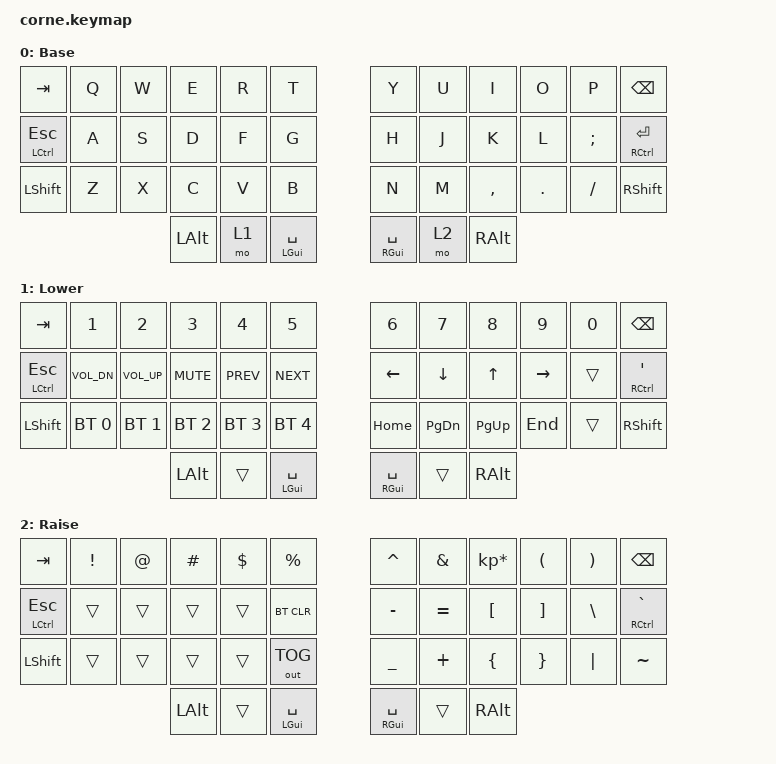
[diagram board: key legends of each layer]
/*
 * Copyright (c) 2020 The ZMK Contributors
 *
 * SPDX-License-Identifier: MIT
 */

#include <behaviors.dtsi>
#include <dt-bindings/zmk/keys.h>
#include <dt-bindings/zmk/bt.h>
#include <dt-bindings/zmk/outputs.h>

/ {
        keymap {
                compatible = "zmk,keymap";

                default_layer {
// ---------------------------------------------------             ---------------------------------------------------
// | TAB        |  Q  |  W  |  E   |  R  |  T        |             |  Y        |  U   |  I  |  O  |  P  | BKSP       |
// | CTRL & ESC |  A  |  S  |  D   |  F  |  G        |             |  H        |  J   |  K  |  L  |  ;  | CTRL & ENT |
// | SHFT       |  Z  |  X  |  C   |  V  |  B        |             |  N        |  M   |  ,  |  .  |  /  | SHFT       |
//                          | ALT  | LWR | GUI & SPC |             | GUI & SPC | RSE  | ALT |

                        display-name = "Base";
                        bindings = <
   &kp TAB       &kp Q &kp W &kp E &kp R &kp T                &kp Y &kp U  &kp I     &kp O   &kp P    &kp BSPC
   &mt LCTRL ESC &kp A &kp S &kp D &kp F &kp G                &kp H &kp J  &kp K     &kp L   &kp SEMI &mt RCTRL RET
   &kp LSHFT     &kp Z &kp X &kp C &kp V &kp B                &kp N &kp M  &kp COMMA &kp DOT &kp FSLH &kp RSHFT
                       &kp LALT &mo 1 &mt LGUI SPC            &mt RGUI SPC &mo 2 &kp RALT
                        >;
                };
                lower_layer {
// ------------------------------------------------------------------           -----------------------------------------------------
// |  TAB       |  1       |  2       |  3     |  4     |  5        |           |  6         |  7    |  8    |  9  |  0  | BKSP     |
// | CTRL & ESC | C_VOL_DN | C_VOL_UP | C_MUTE | C_PREV | C_NEXT    |           | LFT        | DWN   |  UP   | RGT |     | CTRL & ' |
// | SHFT       | BT1      | BT2      | BT3    | BT4    | BT5       |           | HOME       | PG_DN | PG_UP | END |     | SHFT     |
//                                    | ALT    |        | GUI & SPC |           | GUI & SPC  |       | ALT   |

                        display-name = "Lower";
                        bindings = <
   &kp TAB       &kp N1       &kp N2       &kp N3       &kp N4       &kp N5               &kp N6   &kp N7    &kp N8    &kp N9    &kp N0 &kp BSPC
   &mt LCTRL ESC &kp C_VOL_DN &kp C_VOL_UP &kp C_MUTE   &kp C_PREV   &kp C_NEXT           &kp LEFT &kp DOWN  &kp UP    &kp RIGHT &trans &mt RCTRL SQT
   &kp LSHFT     &bt BT_SEL 0 &bt BT_SEL 1 &bt BT_SEL 2 &bt BT_SEL 3 &bt BT_SEL 4         &kp HOME &kp PG_DN &kp PG_UP &kp END   &trans &kp RSHFT
                          	               &kp LALT &trans &mt LGUI SPC                   &mt RGUI SPC &trans &kp RALT
                        >;
                };
                raise_layer {
// -------------------------------------------------------------------       ------------------------------------------------
// |  TAB       |  !        |  @       |  #     |  $     |  %        |       |  ^        |  &  |  *  |  (  |  )  | BKSP     |
// | CTRL & ESC |           |          |        |        | BTCLR     |       |  -        |  =  |  [  |  ]  |  \  | CTRL & ` |
// | SHFT       |           |          |        |        | OUT_TOG   |       |  _        |  +  |  {  |  }  | "|" |  ~       |
//                                     | ALT    |        | GUI & SPC |       | GUI & SPC |     | ALT |

                        display-name = "Raise";
                        bindings = <
   &kp TAB       &kp EXCL     &kp AT       &kp HASH   &kp DLLR   &kp PRCNT      &kp CARET &kp AMPS  &kp KP_MULTIPLY &kp LPAR &kp RPAR &kp BSPC
   &mt LCTRL ESC &trans       &trans       &trans     &trans     &bt BT_CLR     &kp MINUS &kp EQUAL &kp LBKT        &kp RBKT &kp BSLH &mt RCTRL GRAVE
   &kp LSHFT     &trans       &trans       &trans     &trans     &out OUT_TOG   &kp UNDER &kp PLUS  &kp LBRC        &kp RBRC &kp PIPE &kp TILDE
                    	                   &kp LALT &trans &mt LGUI SPC         &mt RGUI SPC &trans &kp RALT
                        >;
                };
        };
};
